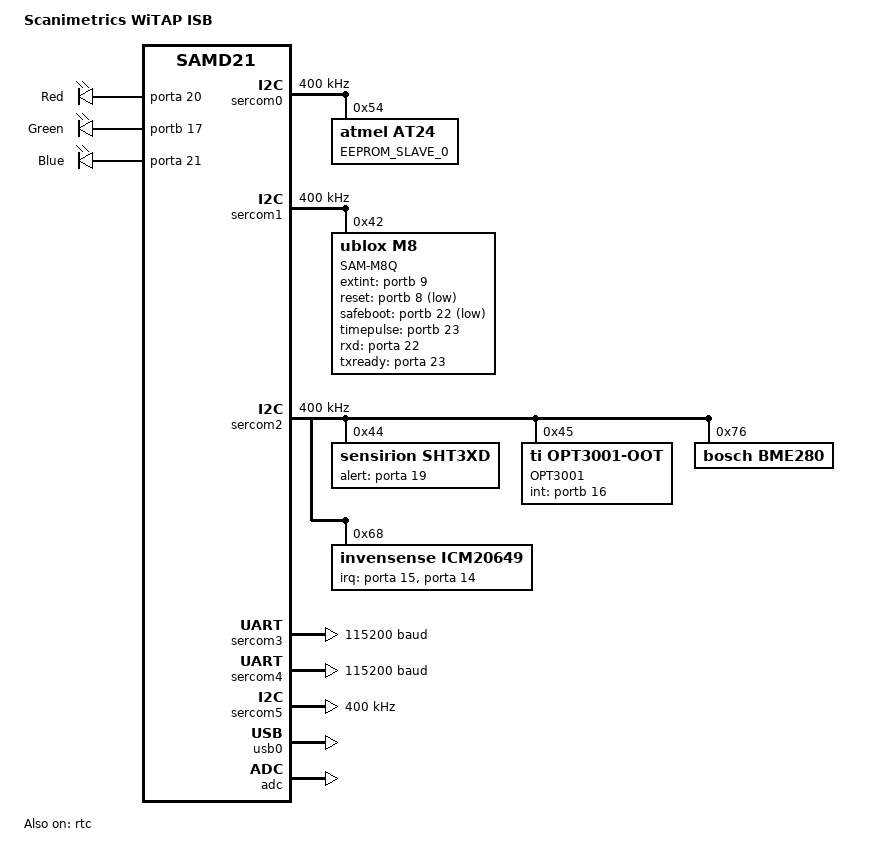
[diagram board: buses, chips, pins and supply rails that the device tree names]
/*
 * Copyright (c) 2019 Scanimetrics Inc.
 *
 * SPDX-License-Identifier: Apache-2.0
 */

/*
 *
 *  See this guide for device tree info
 *  https://docs.zephyrproject.org/latest/guides/dts/index.html
 *
 *  The device tree specification is here:
 *  https://www.devicetree.org/specifications/
 *
 */

/dts-v1/;
#include <atmel/samd21.dtsi>
#include <dt-bindings/gpio/gpio.h>

/ {
	model = "Scanimetrics WiTAP ISB";
	compatible = "scanimetrics,witap_isb", "atmel,samd21j18a", "atmel,samd21";

	chosen {
		zephyr,console = &sercom4;
		zephyr,shell-uart = &sercom4;
		zephyr,sram = &sram0;
		zephyr,flash = &flash0;
		zephyr,code-partition = &code_partition;
	};

	/* These aliases are provided for compatibility with samples */
	aliases {
		led-red = &led0;
		led-green = &led1;
		led-blue = &led2;
	};

	led-pins {
		compatible = "gpio-leds";
		led0: led_0 {
			gpios = <&porta 20 (GPIO_ACTIVE_HIGH)>;
			label = "Red";
		};
		led1: led_1 {
			gpios = <&portb 17 (GPIO_ACTIVE_HIGH)>;
			label = "Green";
		};
		led2: led_2 {
			gpios = <&porta 21 (GPIO_ACTIVE_HIGH)>;
			label = "Blue";
		};
	};

	enable-pins {
		compatible = "gpio";
		sensor1: pa6 {
			gpios = <&porta 6 (GPIO_ACTIVE_HIGH)>;
			label = "sensor-en1";
		};
		sensor2: pa2 {
			gpios = <&porta 2 (GPIO_ACTIVE_HIGH)>;
			label = "sensor-en2";
		};
	};

	host-pins {
		compatible = "gpio";
		hostint1: pa10 {
			gpios = <&porta 10 (GPIO_ACTIVE_HIGH)>;
			label = "host-int1";
		};
	};

	interrupt-pins {
		compatible = "gpio";
		imuint1: pa15 {
			gpios = <&porta 15 (GPIO_ACTIVE_HIGH)>;
			label = "imu-int1";
		};
		imuint2: pa14 {
			gpios = <&porta 14 (GPIO_ACTIVE_HIGH)>;
			label = "imu-int2";
		};
		alsalert: pb16 {
			gpios = <&portb 16 (GPIO_ACTIVE_HIGH)>;
			label = "als-alert";
		};
		thsalert: pa19 {
			gpios = <&porta 19 (GPIO_ACTIVE_HIGH)>;
			label = "ths-alert";
		};
	};

	unused-pins {
		compatible = "gpio";
		pa3: pa3 {
			gpios = <&porta 3 0>;
			label = "pa3";
		};
		pa11: pa11 {
			gpios = <&porta 11 0>;
			label = "pa11";
		};
		// pa12: pa12 {
		// 	gpios = <&porta 12 0>;
		// 	label = "pa12";
		// };
		// pa13: pa13 {
		// 	gpios = <&porta 13 0>;
		// 	label = "pa13";
		// };
		pa18: pa18 {
			gpios = <&porta 18 0>;
			label = "pa18";
		};
		pa27: pa27 {
			gpios = <&porta 27 0>;
			label = "pa27";
		};
		pa28: pa28 {
			gpios = <&porta 28 0>;
			label = "pa28";
		};
		pb4: pb4 {
			gpios = <&portb 4 0>;
			label = "pb4";
		};
		pb5: pb5 {
			gpios = <&portb 5 0>;
			label = "pb5";
		};
		pb6: pb6 {
			gpios = <&portb 6 0>;
			label = "pb6";
		};
		pb7: pb7 {
			gpios = <&portb 7 0>;
			label = "pb7";
		};
		pb10: pb10 {
			gpios = <&portb 10 0>;
			label = "pb10";
		};
		pb11: pb11 {
			gpios = <&portb 11 0>;
			label = "pb11";
		};
		pb12: pb12 {
			gpios = <&portb 12 0>;
			label = "pb12";
		};
		pb13: pb13 {
			gpios = <&portb 13 0>;
			label = "pb13";
		};
		pb14: pb14 {
			gpios = <&portb 14 0>;
			label = "pb14";
		};
		pb15: pb15 {
			gpios = <&portb 15 0>;
			label = "pb15";
		};
		pb30: pb30 {
			gpios = <&portb 30 0>;
			label = "pb30";
		};
		pb31: pb31 {
			gpios = <&portb 31 0>;
			label = "pb31";
		};
	};
};

&cpu0 {
	clock-frequency = <48000000>;
};

//  SERCOM0 is used for board to board communication between ISB and MKR WAN (DOCK)
&sercom0 {
	compatible = "atmel,sam0-i2c";
	#address-cells = <1>;
	#size-cells = <0>;
	//  see ZEPHYR_INCLUDE_DT_BINDINGS_I2C_I2C_H_ for frequency defines
	clock-frequency = <I2C_BITRATE_FAST>;
	dmas = <&dmac 0 0x02>, <&dmac 0 0x01>;
	dma-names = "tx", "rx";
	// interrupts = <9 0>;

	eeprom@54 {
		compatible = "atmel,at24";
		reg = <0x54>;
		label = "EEPROM_SLAVE_0";
		size = <256>;
		pagesize = <16>;
		address-width = <8>;
		timeout = <5>;
	};
};

//  SERCOM1 is connected to the onboard GPS module i2c
&sercom1 {
	compatible = "atmel,sam0-i2c";
	//  see ZEPHYR_INCLUDE_DT_BINDINGS_I2C_I2C_H_ for frequency defines
	clock-frequency = <I2C_BITRATE_FAST>;
	// label = "I2C_1";
	#address-cells = <1>;
	#size-cells = <0>;
	dmas = <&dmac 1 0x04>, <&dmac 1 0x03>;
	dma-names = "tx", "rx";
	// interrupts = <10 0>;

	samm8q: samm8q@42 {
		compatible = "ublox,m8";
		label = "SAM-M8Q";
		reg = <0x42>;
		extint-gpios = <&portb 9 GPIO_ACTIVE_HIGH>;
		reset-gpios = <&portb 8 GPIO_ACTIVE_LOW>;
		safeboot-gpios = <&portb 22 GPIO_ACTIVE_LOW>;
		timepulse-gpios = <&portb 23 GPIO_ACTIVE_HIGH>;
		rxd-gpios = <&porta 22 GPIO_ACTIVE_HIGH>;
		txready-gpios = <&porta 23 GPIO_ACTIVE_HIGH>;
	};
};

//  SERCOM2 is the onboard internal sensor i2c bus
&sercom2 {
	compatible = "atmel,sam0-i2c";
	//  see zephyr/include/dt-bindings/i2c/i2c.h for device tree frequency defines
	clock-frequency = <I2C_BITRATE_FAST>;
	#address-cells = <1>;
	#size-cells = <0>;
	dmas = <&dmac 2 0x06>, <&dmac 2 0x05>;
	dma-names = "tx", "rx";
	// interrupts = <11 0>;

	ths0: sht3xd@44 {
		compatible = "sensirion,sht3xd";
		label = "SHT3XD";
		reg = <0x44>;
		alert-gpios = <&porta 19 GPIO_ACTIVE_HIGH>;
	};

	als0: opt3001@45 {
		compatible = "ti,opt3001-oot";
		label = "OPT3001";
		reg = <0x45>;
		int-gpios = <&portb 16 0>;
	};

	bps0: bme280@76 {
		compatible = "bosch,bme280";
		label = "BME280";
		reg = <0x76>;
	};

	imu0: icm20649@68 {
		compatible = "invensense,icm20649";
		label = "ICM20649";
		reg = <0x68>;
		irq-gpios = <&porta 15 0>, <&porta 14 0>;
	};
};

//  SERCOM3 is the GPS module serial UART
&sercom3 {
	compatible = "atmel,sam0-uart";
	clocks = <&gclk 0x17>, <&pm 0x20 5>, <&gclk0>;
	clock-names = "GCLK", "PM", "GEN";
	current-speed = <115200>;
	//  GPS RXD <-- MCU TXD (PAD0)
	txpo = <0>;
	//  GPS TXD --> MCU RXD (PAD1)
	rxpo = <1>;
};

//  SERCOM4 is the Zephyr console UART
&sercom4 {
	compatible = "atmel,sam0-uart";
	clocks = <&gclk 0x18>, <&pm 0x20 6>, <&gclk0>;
	clock-names = "GCLK", "PM", "GEN";
	current-speed = <115200>;
	//  CONSOLE TXD <-- MCU TXD (PAD0)
	txpo = <0>;
	//  CONSOLE RXD --> MCU RXD (PAD1)
	rxpo = <1>;
};

//  SERCOM5 is the external sensor i2c bus
&sercom5 {
	compatible = "atmel,sam0-i2c";
	//  see zephyr/include/dt-bindings/i2c/i2c.h for device tree frequency defines
	clock-frequency = <I2C_BITRATE_FAST>;
	#address-cells = <1>;
	#size-cells = <0>;
	dmas = <&dmac 3 0x0c>, <&dmac 3 0x0b>;
	dma-names = "tx", "rx";
	// interrupts = <14 0>;
};

/*
 *  See this link for additional info on flash partitions
 *  https://github.com/zephyrproject-rtos/zephyr/blob/master/doc/guides/dts/flash_partitions.inc
 *
 *  Note, for some reason, code is not place automatically in the code partition
 *  To do so, you need to ensure that the base address is set in your project config
 *  For example:
 *    CONFIG_FLASH_BASE_ADDRESS=0x2000
 *
 */

&flash0 {
	partitions {
		compatible = "fixed-partitions";
		#address-cells = <1>;
		#size-cells = <1>;

		boot_partition: partition@0 {
			label = "sam-ba";
			reg = <0x00000000 0x2000>;
			read-only;
		};

		code_partition: partition@2000 {
			label = "code";
			reg = <0x2000 0x3c000>;
			read-only;
		};

		/*
		 * The final 16 KiB is reserved for the application
		 * and is used by NFFS if enabled.
		 */
		storage_partition: partition@3e000 {
			label = "storage";
			reg = <0x0003e000 0x00002000>;
		};
	};
};

&usb0 {
	status = "okay";
};

&rtc {
	status = "okay";
	/*  use GCLK4 (xosc32k) as the source for the rtc  */
	/*  RTC clock frequency is defined in soc.h  */
	clock-generator = <4>;
	prescaler = <0>;
	/* RTC uses highest priority interrupt */
	interrupts = <3 0>;
};

&adc {
	status = "okay";
	// interrupts = <19 0>;
};
